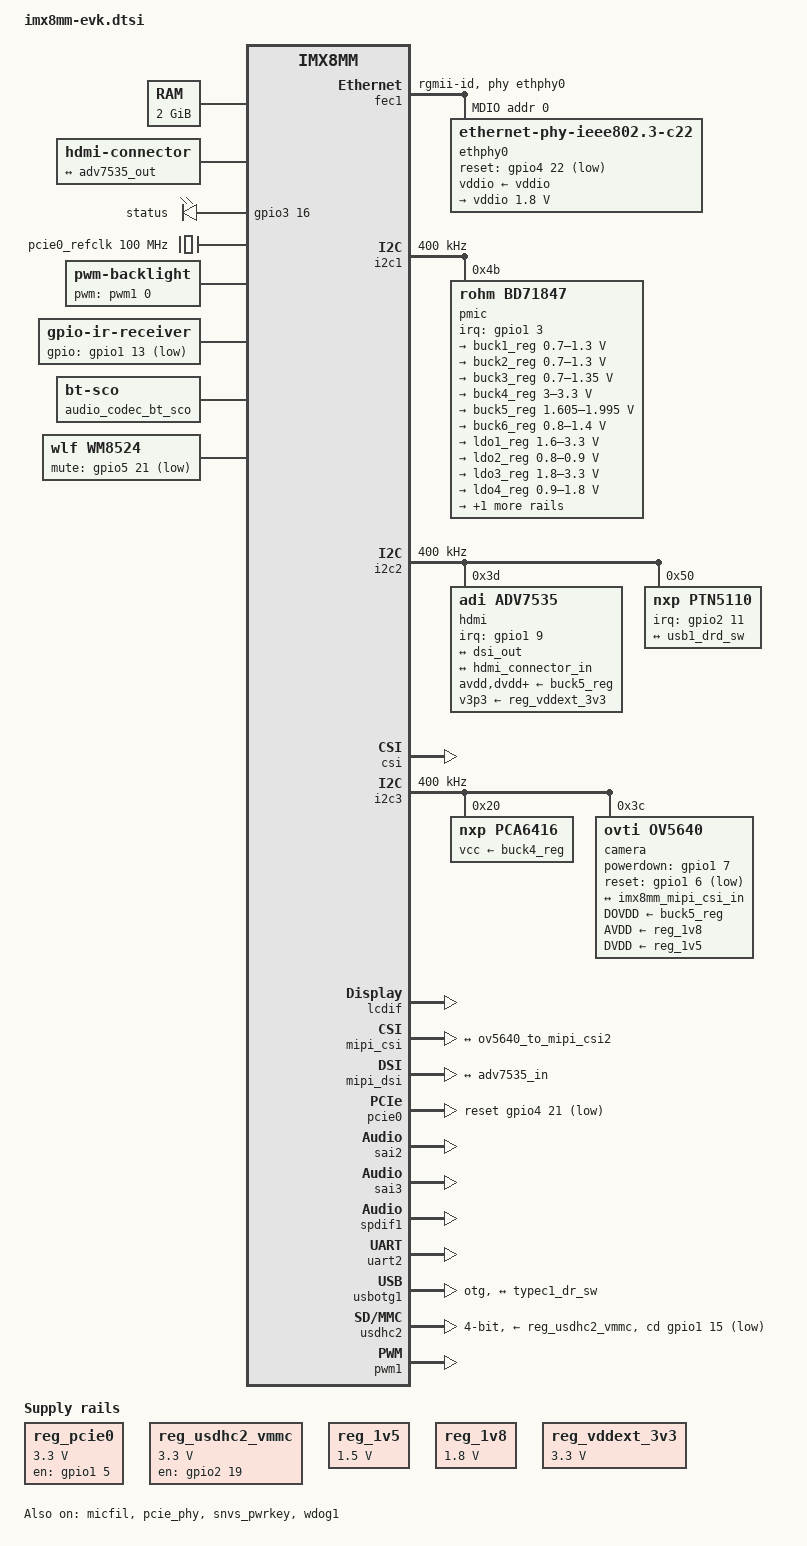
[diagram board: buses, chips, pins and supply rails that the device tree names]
// SPDX-License-Identifier: (GPL-2.0+ OR MIT)
/*
 * Copyright 2020 NXP
 */

/dts-v1/;

#include <dt-bindings/phy/phy-imx8-pcie.h>
#include <dt-bindings/usb/pd.h>
#include "imx8mm.dtsi"

/ {
	chosen {
		stdout-path = &uart2;
	};

	memory@40000000 {
		device_type = "memory";
		reg = <0x0 0x40000000 0 0x80000000>;
	};

	hdmi-connector {
		compatible = "hdmi-connector";
		label = "hdmi";
		type = "a";

		port {
			hdmi_connector_in: endpoint {
				remote-endpoint = <&adv7535_out>;
			};
		};
	};

	leds {
		compatible = "gpio-leds";
		pinctrl-names = "default";
		pinctrl-0 = <&pinctrl_gpio_led>;

		status {
			label = "status";
			gpios = <&gpio3 16 GPIO_ACTIVE_HIGH>;
			default-state = "on";
		};
	};

	pcie0_refclk: pcie0-refclk {
		compatible = "fixed-clock";
		#clock-cells = <0>;
		clock-frequency = <100000000>;
	};

	reg_pcie0: regulator-pcie {
		compatible = "regulator-fixed";
		pinctrl-names = "default";
		pinctrl-0 = <&pinctrl_pcie0_reg>;
		regulator-name = "MPCIE_3V3";
		regulator-min-microvolt = <3300000>;
		regulator-max-microvolt = <3300000>;
		gpio = <&gpio1 5 GPIO_ACTIVE_HIGH>;
		enable-active-high;
	};

	reg_usdhc2_vmmc: regulator-usdhc2 {
		compatible = "regulator-fixed";
		pinctrl-names = "default";
		pinctrl-0 = <&pinctrl_reg_usdhc2_vmmc>;
		regulator-name = "VSD_3V3";
		regulator-min-microvolt = <3300000>;
		regulator-max-microvolt = <3300000>;
		gpio = <&gpio2 19 GPIO_ACTIVE_HIGH>;
		off-on-delay-us = <20000>;
		enable-active-high;
	};

	reg_1v5: regulator-1v5 {
		compatible = "regulator-fixed";
		regulator-name = "VDD_1V5";
		regulator-min-microvolt = <1500000>;
		regulator-max-microvolt = <1500000>;
	};

	reg_1v8: regulator-1v8 {
		compatible = "regulator-fixed";
		regulator-name = "VDD_1V8";
		regulator-min-microvolt = <1800000>;
		regulator-max-microvolt = <1800000>;
	};

	reg_vddext_3v3: regulator-vddext-3v3 {
		compatible = "regulator-fixed";
		regulator-name = "VDDEXT_3V3";
		regulator-min-microvolt = <3300000>;
		regulator-max-microvolt = <3300000>;
	};

	backlight: backlight {
		compatible = "pwm-backlight";
		pwms = <&pwm1 0 5000000 0>;
		brightness-levels = <0 255>;
		num-interpolated-steps = <255>;
		default-brightness-level = <250>;
	};

	ir-receiver {
		compatible = "gpio-ir-receiver";
		gpios = <&gpio1 13 GPIO_ACTIVE_LOW>;
		pinctrl-names = "default";
		pinctrl-0 = <&pinctrl_ir>;
		linux,autosuspend-period = <125>;
	};

	audio_codec_bt_sco: audio-codec-bt-sco {
		compatible = "linux,bt-sco";
		#sound-dai-cells = <1>;
	};

	wm8524: audio-codec {
		#sound-dai-cells = <0>;
		compatible = "wlf,wm8524";
		pinctrl-names = "default";
		pinctrl-0 = <&pinctrl_gpio_wlf>;
		wlf,mute-gpios = <&gpio5 21 GPIO_ACTIVE_LOW>;
	};

	sound-bt-sco {
		compatible = "simple-audio-card";
		simple-audio-card,name = "bt-sco-audio";
		simple-audio-card,format = "dsp_a";
		simple-audio-card,bitclock-inversion;
		simple-audio-card,frame-master = <&btcpu>;
		simple-audio-card,bitclock-master = <&btcpu>;

		btcpu: simple-audio-card,cpu {
			sound-dai = <&sai2>;
			dai-tdm-slot-num = <2>;
			dai-tdm-slot-width = <16>;
		};

		simple-audio-card,codec {
			sound-dai = <&audio_codec_bt_sco 1>;
		};
	};

	sound-wm8524 {
		compatible = "simple-audio-card";
		simple-audio-card,name = "wm8524-audio";
		simple-audio-card,format = "i2s";
		simple-audio-card,frame-master = <&cpudai>;
		simple-audio-card,bitclock-master = <&cpudai>;
		simple-audio-card,widgets =
			"Line", "Left Line Out Jack",
			"Line", "Right Line Out Jack";
		simple-audio-card,routing =
			"Left Line Out Jack", "LINEVOUTL",
			"Right Line Out Jack", "LINEVOUTR";

		cpudai: simple-audio-card,cpu {
			sound-dai = <&sai3>;
			dai-tdm-slot-num = <2>;
			dai-tdm-slot-width = <32>;
		};

		simple-audio-card,codec {
			sound-dai = <&wm8524>;
			clocks = <&clk IMX8MM_CLK_SAI3_ROOT>;
		};
	};

	sound-micfil {
		compatible = "fsl,imx-audio-card";
		model = "micfil-audio";

		pri-dai-link {
			link-name = "micfil hifi";
			format = "i2s";

			cpu {
				sound-dai = <&micfil>;
			};
		};
	};

	sound-spdif {
		compatible = "fsl,imx-audio-spdif";
		model = "imx-spdif";
		spdif-controller = <&spdif1>;
		spdif-out;
		spdif-in;
	};
};

&A53_0 {
	cpu-supply = <&buck2_reg>;
};

&A53_1 {
	cpu-supply = <&buck2_reg>;
};

&A53_2 {
	cpu-supply = <&buck2_reg>;
};

&A53_3 {
	cpu-supply = <&buck2_reg>;
};

&fec1 {
	pinctrl-names = "default";
	pinctrl-0 = <&pinctrl_fec1>;
	phy-mode = "rgmii-id";
	phy-handle = <&ethphy0>;
	fsl,magic-packet;
	status = "okay";

	mdio {
		#address-cells = <1>;
		#size-cells = <0>;

		ethphy0: ethernet-phy@0 {
			compatible = "ethernet-phy-ieee802.3-c22";
			reg = <0>;
			reset-gpios = <&gpio4 22 GPIO_ACTIVE_LOW>;
			reset-assert-us = <10000>;
			qca,disable-smarteee;
			vddio-supply = <&vddio>;

			vddio: vddio-regulator {
				regulator-min-microvolt = <1800000>;
				regulator-max-microvolt = <1800000>;
			};
		};
	};
};

&i2c1 {
	clock-frequency = <400000>;
	pinctrl-names = "default";
	pinctrl-0 = <&pinctrl_i2c1>;
	status = "okay";

	pmic@4b {
		compatible = "rohm,bd71847";
		reg = <0x4b>;
		pinctrl-names = "default";
		pinctrl-0 = <&pinctrl_pmic>;
		interrupt-parent = <&gpio1>;
		interrupts = <3 IRQ_TYPE_LEVEL_LOW>;
		rohm,reset-snvs-powered;

		#clock-cells = <0>;
		clocks = <&osc_32k>;
		clock-output-names = "clk-32k-out";

		regulators {
			buck1_reg: BUCK1 {
				regulator-name = "buck1";
				regulator-min-microvolt = <700000>;
				regulator-max-microvolt = <1300000>;
				regulator-boot-on;
				regulator-always-on;
				regulator-ramp-delay = <1250>;
			};

			buck2_reg: BUCK2 {
				regulator-name = "buck2";
				regulator-min-microvolt = <700000>;
				regulator-max-microvolt = <1300000>;
				regulator-boot-on;
				regulator-always-on;
				regulator-ramp-delay = <1250>;
				rohm,dvs-run-voltage = <1000000>;
				rohm,dvs-idle-voltage = <900000>;
			};

			buck3_reg: BUCK3 {
				// BUCK5 in datasheet
				regulator-name = "buck3";
				regulator-min-microvolt = <700000>;
				regulator-max-microvolt = <1350000>;
				regulator-boot-on;
				regulator-always-on;
			};

			buck4_reg: BUCK4 {
				// BUCK6 in datasheet
				regulator-name = "buck4";
				regulator-min-microvolt = <3000000>;
				regulator-max-microvolt = <3300000>;
				regulator-boot-on;
				regulator-always-on;
			};

			buck5_reg: BUCK5 {
				// BUCK7 in datasheet
				regulator-name = "buck5";
				regulator-min-microvolt = <1605000>;
				regulator-max-microvolt = <1995000>;
				regulator-boot-on;
				regulator-always-on;
			};

			buck6_reg: BUCK6 {
				// BUCK8 in datasheet
				regulator-name = "buck6";
				regulator-min-microvolt = <800000>;
				regulator-max-microvolt = <1400000>;
				regulator-boot-on;
				regulator-always-on;
			};

			ldo1_reg: LDO1 {
				regulator-name = "ldo1";
				regulator-min-microvolt = <1600000>;
				regulator-max-microvolt = <3300000>;
				regulator-boot-on;
				regulator-always-on;
			};

			ldo2_reg: LDO2 {
				regulator-name = "ldo2";
				regulator-min-microvolt = <800000>;
				regulator-max-microvolt = <900000>;
				regulator-boot-on;
				regulator-always-on;
			};

			ldo3_reg: LDO3 {
				regulator-name = "ldo3";
				regulator-min-microvolt = <1800000>;
				regulator-max-microvolt = <3300000>;
				regulator-boot-on;
				regulator-always-on;
			};

			ldo4_reg: LDO4 {
				regulator-name = "ldo4";
				regulator-min-microvolt = <900000>;
				regulator-max-microvolt = <1800000>;
				regulator-boot-on;
				regulator-always-on;
			};

			ldo6_reg: LDO6 {
				regulator-name = "ldo6";
				regulator-min-microvolt = <900000>;
				regulator-max-microvolt = <1800000>;
				regulator-boot-on;
				regulator-always-on;
			};
		};
	};
};

&i2c2 {
	clock-frequency = <400000>;
	pinctrl-names = "default";
	pinctrl-0 = <&pinctrl_i2c2>;
	status = "okay";

	hdmi@3d {
		compatible = "adi,adv7535";
		reg = <0x3d>;
		interrupt-parent = <&gpio1>;
		interrupts = <9 IRQ_TYPE_EDGE_FALLING>;
		adi,dsi-lanes = <4>;
		avdd-supply = <&buck5_reg>;
		dvdd-supply = <&buck5_reg>;
		pvdd-supply = <&buck5_reg>;
		a2vdd-supply = <&buck5_reg>;
		v3p3-supply = <&reg_vddext_3v3>;
		v1p2-supply = <&buck5_reg>;

		ports {
			#address-cells = <1>;
			#size-cells = <0>;

			port@0 {
				reg = <0>;

				adv7535_in: endpoint {
					remote-endpoint = <&dsi_out>;
				};
			};

			port@1 {
				reg = <1>;

				adv7535_out: endpoint {
					remote-endpoint = <&hdmi_connector_in>;
				};
			};

		};
	};

	ptn5110: tcpc@50 {
		compatible = "nxp,ptn5110", "tcpci";
		pinctrl-names = "default";
		pinctrl-0 = <&pinctrl_typec1>;
		reg = <0x50>;
		interrupt-parent = <&gpio2>;
		interrupts = <11 IRQ_TYPE_LEVEL_LOW>;
		status = "okay";

		typec1_con: connector {
			compatible = "usb-c-connector";
			label = "USB-C";
			power-role = "dual";
			data-role = "dual";
			try-power-role = "sink";
			source-pdos = <PDO_FIXED(5000, 3000, PDO_FIXED_USB_COMM)>;
			sink-pdos = <PDO_FIXED(5000, 3000, PDO_FIXED_USB_COMM)
				     PDO_VAR(5000, 20000, 3000)>;
			op-sink-microwatt = <15000000>;
			self-powered;

			port {
				typec1_dr_sw: endpoint {
					remote-endpoint = <&usb1_drd_sw>;
				};
			};
		};
	};
};


&csi {
	status = "okay";
};

&i2c3 {
	clock-frequency = <400000>;
	pinctrl-names = "default";
	pinctrl-0 = <&pinctrl_i2c3>;
	status = "okay";

	pca6416: gpio@20 {
		compatible = "nxp,pca6416";
		reg = <0x20>;
		gpio-controller;
		#gpio-cells = <2>;
		vcc-supply = <&buck4_reg>;
	};

	camera@3c {
		compatible = "ovti,ov5640";
		reg = <0x3c>;
		pinctrl-names = "default";
		pinctrl-0 = <&pinctrl_camera>;
		clocks = <&clk IMX8MM_CLK_CLKO1>;
		clock-names = "xclk";
		assigned-clocks = <&clk IMX8MM_CLK_CLKO1>;
		assigned-clock-parents = <&clk IMX8MM_CLK_24M>;
		assigned-clock-rates = <24000000>;
		powerdown-gpios = <&gpio1 7 GPIO_ACTIVE_HIGH>;
		reset-gpios = <&gpio1 6 GPIO_ACTIVE_LOW>;
		DOVDD-supply = <&buck5_reg>;
		AVDD-supply = <&reg_1v8>;
		DVDD-supply = <&reg_1v5>;

		port {
			ov5640_to_mipi_csi2: endpoint {
				remote-endpoint = <&imx8mm_mipi_csi_in>;
				clock-lanes = <0>;
				data-lanes = <1 2>;
			};
		};
	};
};

&lcdif {
	status = "okay";
};

&micfil {
	#sound-dai-cells = <0>;
	pinctrl-names = "default";
	pinctrl-0 = <&pinctrl_pdm>;
	assigned-clocks = <&clk IMX8MM_CLK_PDM>;
	assigned-clock-parents = <&clk IMX8MM_AUDIO_PLL1_OUT>;
	assigned-clock-rates = <196608000>;
	status = "okay";
};

&mipi_csi {
	status = "okay";

	ports {
		port@0 {
			imx8mm_mipi_csi_in: endpoint {
				remote-endpoint = <&ov5640_to_mipi_csi2>;
				data-lanes = <1 2>;
			};
		};
	};
};

&mipi_dsi {
	samsung,esc-clock-frequency = <10000000>;
	status = "okay";

	ports {
		port@1 {
			reg = <1>;

			dsi_out: endpoint {
				remote-endpoint = <&adv7535_in>;
				data-lanes = <1 2 3 4>;
			};
		};
	};
};

&pcie_phy {
	fsl,refclk-pad-mode = <IMX8_PCIE_REFCLK_PAD_INPUT>;
	fsl,tx-deemph-gen1 = <0x2d>;
	fsl,tx-deemph-gen2 = <0xf>;
	clocks = <&pcie0_refclk>;
	status = "okay";
};

&pcie0 {
	pinctrl-names = "default";
	pinctrl-0 = <&pinctrl_pcie0>;
	reset-gpio = <&gpio4 21 GPIO_ACTIVE_LOW>;
	clocks = <&clk IMX8MM_CLK_PCIE1_ROOT>, <&pcie0_refclk>,
		 <&clk IMX8MM_CLK_PCIE1_AUX>;
	assigned-clocks = <&clk IMX8MM_CLK_PCIE1_AUX>,
			  <&clk IMX8MM_CLK_PCIE1_CTRL>;
	assigned-clock-rates = <10000000>, <250000000>;
	assigned-clock-parents = <&clk IMX8MM_SYS_PLL2_50M>,
				 <&clk IMX8MM_SYS_PLL2_250M>;
	vpcie-supply = <&reg_pcie0>;
	status = "okay";
};

&sai2 {
	#sound-dai-cells = <0>;
	pinctrl-names = "default";
	pinctrl-0 = <&pinctrl_sai2>;
	assigned-clocks = <&clk IMX8MM_CLK_SAI2>;
	assigned-clock-parents = <&clk IMX8MM_AUDIO_PLL1_OUT>;
	assigned-clock-rates = <24576000>;
	status = "okay";
};

&sai3 {
	pinctrl-names = "default";
	pinctrl-0 = <&pinctrl_sai3>;
	assigned-clocks = <&clk IMX8MM_CLK_SAI3>;
	assigned-clock-parents = <&clk IMX8MM_AUDIO_PLL1_OUT>;
	assigned-clock-rates = <24576000>;
	status = "okay";
};

&snvs_pwrkey {
	status = "okay";
};

&spdif1 {
	pinctrl-names = "default";
	pinctrl-0 = <&pinctrl_spdif1>;
	assigned-clocks = <&clk IMX8MM_CLK_SPDIF1>;
	assigned-clock-parents = <&clk IMX8MM_AUDIO_PLL1_OUT>;
	assigned-clock-rates = <24576000>;
	clocks = <&clk IMX8MM_CLK_AUDIO_AHB>, <&clk IMX8MM_CLK_24M>,
		 <&clk IMX8MM_CLK_SPDIF1>, <&clk IMX8MM_CLK_DUMMY>,
		 <&clk IMX8MM_CLK_DUMMY>, <&clk IMX8MM_CLK_DUMMY>,
		 <&clk IMX8MM_CLK_AUDIO_AHB>, <&clk IMX8MM_CLK_DUMMY>,
		 <&clk IMX8MM_CLK_DUMMY>, <&clk IMX8MM_CLK_DUMMY>,
		 <&clk IMX8MM_AUDIO_PLL1_OUT>, <&clk IMX8MM_AUDIO_PLL2_OUT>;
	clock-names = "core", "rxtx0", "rxtx1", "rxtx2", "rxtx3",
		      "rxtx4", "rxtx5", "rxtx6", "rxtx7", "spba",
		      "pll8k", "pll11k";
	status = "okay";
};

&uart2 { /* console */
	pinctrl-names = "default";
	pinctrl-0 = <&pinctrl_uart2>;
	status = "okay";
};

&usbphynop1 {
	wakeup-source;
};

&usbotg1 {
	dr_mode = "otg";
	hnp-disable;
	srp-disable;
	adp-disable;
	usb-role-switch;
	disable-over-current;
	samsung,picophy-pre-emp-curr-control = <3>;
	samsung,picophy-dc-vol-level-adjust = <7>;
	status = "okay";

	port {
		usb1_drd_sw: endpoint {
			remote-endpoint = <&typec1_dr_sw>;
		};
	};
};

&usdhc2 {
	assigned-clocks = <&clk IMX8MM_CLK_USDHC2>;
	assigned-clock-rates = <200000000>;
	pinctrl-names = "default", "state_100mhz", "state_200mhz";
	pinctrl-0 = <&pinctrl_usdhc2>, <&pinctrl_usdhc2_gpio>;
	pinctrl-1 = <&pinctrl_usdhc2_100mhz>, <&pinctrl_usdhc2_gpio>;
	pinctrl-2 = <&pinctrl_usdhc2_200mhz>, <&pinctrl_usdhc2_gpio>;
	cd-gpios = <&gpio1 15 GPIO_ACTIVE_LOW>;
	bus-width = <4>;
	vmmc-supply = <&reg_usdhc2_vmmc>;
	status = "okay";
};

&wdog1 {
	pinctrl-names = "default";
	pinctrl-0 = <&pinctrl_wdog>;
	fsl,ext-reset-output;
	status = "okay";
};

&pwm1 {
	pinctrl-names = "default";
	pinctrl-0 = <&pinctrl_backlight>;
	status = "okay";
};

&iomuxc {
	pinctrl_fec1: fec1grp {
		fsl,pins = <
			MX8MM_IOMUXC_ENET_MDC_ENET1_MDC			0x3
			MX8MM_IOMUXC_ENET_MDIO_ENET1_MDIO		0x3
			MX8MM_IOMUXC_ENET_TD3_ENET1_RGMII_TD3		0x1f
			MX8MM_IOMUXC_ENET_TD2_ENET1_RGMII_TD2		0x1f
			MX8MM_IOMUXC_ENET_TD1_ENET1_RGMII_TD1		0x1f
			MX8MM_IOMUXC_ENET_TD0_ENET1_RGMII_TD0		0x1f
			MX8MM_IOMUXC_ENET_RD3_ENET1_RGMII_RD3		0x91
			MX8MM_IOMUXC_ENET_RD2_ENET1_RGMII_RD2		0x91
			MX8MM_IOMUXC_ENET_RD1_ENET1_RGMII_RD1		0x91
			MX8MM_IOMUXC_ENET_RD0_ENET1_RGMII_RD0		0x91
			MX8MM_IOMUXC_ENET_TXC_ENET1_RGMII_TXC		0x1f
			MX8MM_IOMUXC_ENET_RXC_ENET1_RGMII_RXC		0x91
			MX8MM_IOMUXC_ENET_RX_CTL_ENET1_RGMII_RX_CTL	0x91
			MX8MM_IOMUXC_ENET_TX_CTL_ENET1_RGMII_TX_CTL	0x1f
			MX8MM_IOMUXC_SAI2_RXC_GPIO4_IO22		0x19
		>;
	};

	pinctrl_gpio_led: gpioledgrp {
		fsl,pins = <
			MX8MM_IOMUXC_NAND_READY_B_GPIO3_IO16	0x19
		>;
	};

	pinctrl_ir: irgrp {
		fsl,pins = <
			MX8MM_IOMUXC_GPIO1_IO13_GPIO1_IO13              0x4f
		>;
	};

	pinctrl_gpio_wlf: gpiowlfgrp {
		fsl,pins = <
			MX8MM_IOMUXC_I2C4_SDA_GPIO5_IO21	0xd6
		>;
	};

	pinctrl_i2c1: i2c1grp {
		fsl,pins = <
			MX8MM_IOMUXC_I2C1_SCL_I2C1_SCL			0x400001c3
			MX8MM_IOMUXC_I2C1_SDA_I2C1_SDA			0x400001c3
		>;
	};

	pinctrl_i2c2: i2c2grp {
		fsl,pins = <
			MX8MM_IOMUXC_I2C2_SCL_I2C2_SCL			0x400001c3
			MX8MM_IOMUXC_I2C2_SDA_I2C2_SDA			0x400001c3
		>;
	};

	pinctrl_i2c3: i2c3grp {
		fsl,pins = <
			MX8MM_IOMUXC_I2C3_SCL_I2C3_SCL			0x400001c3
			MX8MM_IOMUXC_I2C3_SDA_I2C3_SDA			0x400001c3
		>;
	};

	pinctrl_pcie0: pcie0grp {
		fsl,pins = <
			MX8MM_IOMUXC_I2C4_SCL_PCIE1_CLKREQ_B    0x61
			MX8MM_IOMUXC_SAI2_RXFS_GPIO4_IO21       0x41
		>;
	};

	pinctrl_pcie0_reg: pcie0reggrp {
		fsl,pins = <
			MX8MM_IOMUXC_GPIO1_IO05_GPIO1_IO5       0x41
		>;
	};

	pinctrl_pdm: pdmgrp {
		fsl,pins = <
			MX8MM_IOMUXC_SAI5_MCLK_SAI5_MCLK        0xd6
			MX8MM_IOMUXC_SAI5_RXC_PDM_CLK           0xd6
			MX8MM_IOMUXC_SAI5_RXFS_SAI5_RX_SYNC     0xd6
			MX8MM_IOMUXC_SAI5_RXD0_PDM_DATA0        0xd6
			MX8MM_IOMUXC_SAI5_RXD1_PDM_DATA1        0xd6
			MX8MM_IOMUXC_SAI5_RXD2_PDM_DATA2        0xd6
			MX8MM_IOMUXC_SAI5_RXD3_PDM_DATA3        0xd6
		>;
	};

	pinctrl_pmic: pmicirqgrp {
		fsl,pins = <
			MX8MM_IOMUXC_GPIO1_IO03_GPIO1_IO3		0x141
		>;
	};

	pinctrl_reg_usdhc2_vmmc: regusdhc2vmmcgrp {
		fsl,pins = <
			MX8MM_IOMUXC_SD2_RESET_B_GPIO2_IO19	0x41
		>;
	};

	pinctrl_sai2: sai2grp {
		fsl,pins = <
			MX8MM_IOMUXC_SAI2_TXC_SAI2_TX_BCLK      0xd6
			MX8MM_IOMUXC_SAI2_TXFS_SAI2_TX_SYNC     0xd6
			MX8MM_IOMUXC_SAI2_TXD0_SAI2_TX_DATA0    0xd6
			MX8MM_IOMUXC_SAI2_RXD0_SAI2_RX_DATA0    0xd6
		>;
	};

	pinctrl_sai3: sai3grp {
		fsl,pins = <
			MX8MM_IOMUXC_SAI3_TXFS_SAI3_TX_SYNC     0xd6
			MX8MM_IOMUXC_SAI3_TXC_SAI3_TX_BCLK      0xd6
			MX8MM_IOMUXC_SAI3_MCLK_SAI3_MCLK        0xd6
			MX8MM_IOMUXC_SAI3_TXD_SAI3_TX_DATA0     0xd6
		>;
	};

	pinctrl_spdif1: spdif1grp {
		fsl,pins = <
			MX8MM_IOMUXC_SPDIF_TX_SPDIF1_OUT	0xd6
			MX8MM_IOMUXC_SPDIF_RX_SPDIF1_IN		0xd6
		>;
	};

	pinctrl_typec1: typec1grp {
		fsl,pins = <
			MX8MM_IOMUXC_SD1_STROBE_GPIO2_IO11	0x159
		>;
	};

	pinctrl_uart2: uart2grp {
		fsl,pins = <
			MX8MM_IOMUXC_UART2_RXD_UART2_DCE_RX	0x140
			MX8MM_IOMUXC_UART2_TXD_UART2_DCE_TX	0x140
		>;
	};

	pinctrl_usdhc2_gpio: usdhc2grpgpiogrp {
		fsl,pins = <
			MX8MM_IOMUXC_GPIO1_IO15_GPIO1_IO15	0x1c4
		>;
	};

	pinctrl_usdhc2: usdhc2grp {
		fsl,pins = <
			MX8MM_IOMUXC_SD2_CLK_USDHC2_CLK		0x190
			MX8MM_IOMUXC_SD2_CMD_USDHC2_CMD		0x1d0
			MX8MM_IOMUXC_SD2_DATA0_USDHC2_DATA0	0x1d0
			MX8MM_IOMUXC_SD2_DATA1_USDHC2_DATA1	0x1d0
			MX8MM_IOMUXC_SD2_DATA2_USDHC2_DATA2	0x1d0
			MX8MM_IOMUXC_SD2_DATA3_USDHC2_DATA3	0x1d0
			MX8MM_IOMUXC_GPIO1_IO04_USDHC2_VSELECT	0x1d0
		>;
	};

	pinctrl_usdhc2_100mhz: usdhc2-100mhzgrp {
		fsl,pins = <
			MX8MM_IOMUXC_SD2_CLK_USDHC2_CLK		0x194
			MX8MM_IOMUXC_SD2_CMD_USDHC2_CMD		0x1d4
			MX8MM_IOMUXC_SD2_DATA0_USDHC2_DATA0	0x1d4
			MX8MM_IOMUXC_SD2_DATA1_USDHC2_DATA1	0x1d4
			MX8MM_IOMUXC_SD2_DATA2_USDHC2_DATA2	0x1d4
			MX8MM_IOMUXC_SD2_DATA3_USDHC2_DATA3	0x1d4
			MX8MM_IOMUXC_GPIO1_IO04_USDHC2_VSELECT	0x1d0
		>;
	};

	pinctrl_usdhc2_200mhz: usdhc2-200mhzgrp {
		fsl,pins = <
			MX8MM_IOMUXC_SD2_CLK_USDHC2_CLK		0x196
			MX8MM_IOMUXC_SD2_CMD_USDHC2_CMD		0x1d6
			MX8MM_IOMUXC_SD2_DATA0_USDHC2_DATA0	0x1d6
			MX8MM_IOMUXC_SD2_DATA1_USDHC2_DATA1	0x1d6
			MX8MM_IOMUXC_SD2_DATA2_USDHC2_DATA2	0x1d6
			MX8MM_IOMUXC_SD2_DATA3_USDHC2_DATA3	0x1d6
			MX8MM_IOMUXC_GPIO1_IO04_USDHC2_VSELECT	0x1d0
		>;
	};

	pinctrl_wdog: wdoggrp {
		fsl,pins = <
			MX8MM_IOMUXC_GPIO1_IO02_WDOG1_WDOG_B	0x166
		>;
	};

	pinctrl_backlight: backlightgrp {
		fsl,pins = <
			MX8MM_IOMUXC_GPIO1_IO01_PWM1_OUT	0x06
		>;
	};

	pinctrl_camera: cameragrp {
		fsl,pins = <
			MX8MM_IOMUXC_GPIO1_IO06_GPIO1_IO6		0x19
			MX8MM_IOMUXC_GPIO1_IO07_GPIO1_IO7		0x19
			MX8MM_IOMUXC_GPIO1_IO14_CCMSRCGPCMIX_CLKO1	0x59
		>;
	};
};
